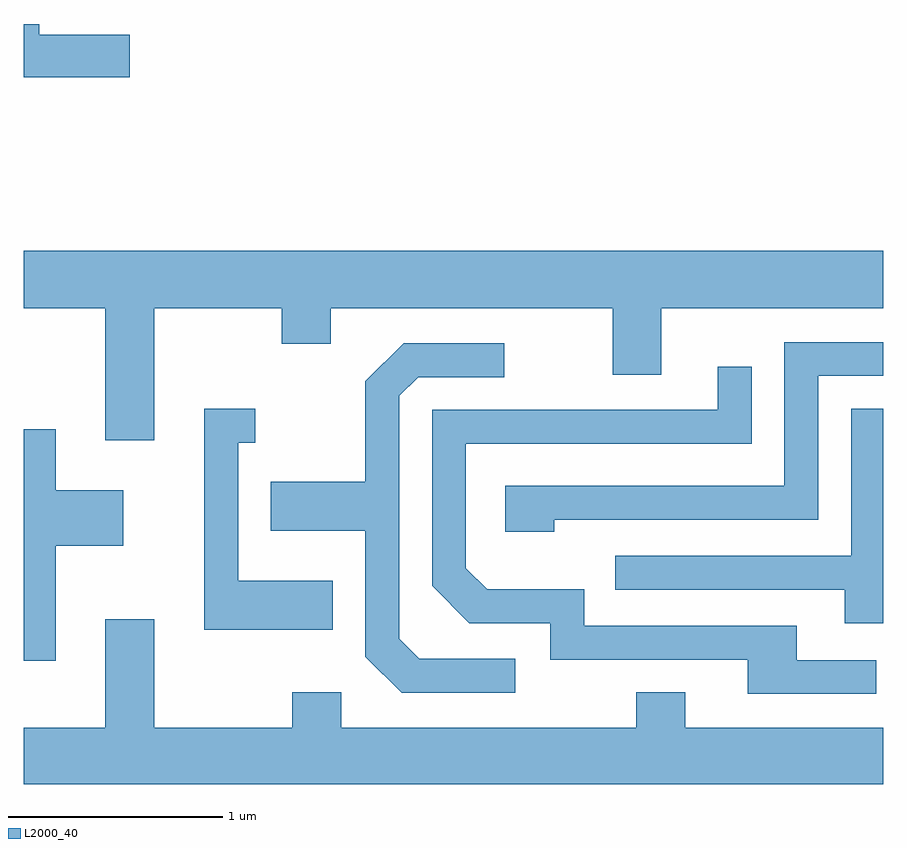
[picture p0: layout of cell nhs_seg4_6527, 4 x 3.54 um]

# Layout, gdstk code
import gdstk
lib = gdstk.Library(unit=1e-6, precision=1e-09)
def P(c, l, *ps):  # polygons
    for p in ps: c.add(gdstk.Polygon(p, *l))
L2000_40 = (2000, 40)

nhs_seg4_6527 = lib.new_cell('nhs_seg4_6527')
P(nhs_seg4_6527, L2000_40, [(376.104,1391.469),(375.684,1391.469),(375.684,1391.519),(375.611,1391.519),(375.611,1391.271),(376.104,1391.271)],
  [(376.219,1390.196),(376.811,1390.196),(376.811,1390.031),(377.039,1390.031),(377.039,1390.196),(378.351,1390.196),(378.351,1389.886),(378.579,1389.886),(378.579,1390.196),(379.611,1390.196),(379.611,1390.464),(375.611,1390.464),(375.611,1390.196),(375.991,1390.196),(375.991,1389.581),(376.219,1389.581)],
  [(378.079,1389.211),(379.309,1389.211),(379.309,1389.881),(379.611,1389.881),(379.611,1390.039),(379.151,1390.039),(379.151,1389.369),(377.851,1389.369),(377.851,1389.156),(378.079,1389.156)],
  [(377.898,1388.564),(377.452,1388.564),(377.359,1388.657),(377.359,1389.789),(377.447,1389.876),(377.848,1389.876),(377.848,1390.034),(377.379,1390.034),(377.201,1389.857),(377.201,1389.389),(376.761,1389.389),(376.761,1389.161),(377.201,1389.161),(377.201,1388.574),(377.369,1388.406),(377.898,1388.406)],
  [(379.578,1388.559),(379.209,1388.559),(379.209,1388.719),(378.219,1388.719),(378.219,1388.889),(377.767,1388.889),(377.669,1388.987),(377.669,1389.566),(378.999,1389.566),(378.999,1389.923),(378.841,1389.923),(378.841,1389.724),(377.511,1389.724),(377.511,1388.904),(377.684,1388.731),(378.061,1388.731),(378.061,1388.561),(378.981,1388.561),(378.981,1388.401),(379.578,1388.401)],
  [(379.611,1389.729),(379.461,1389.729),(379.461,1389.044),(378.363,1389.044),(378.363,1388.886),(379.431,1388.886),(379.431,1388.731),(379.611,1388.731)],
  [(377.049,1388.929),(376.609,1388.929),(376.609,1389.571),(376.688,1389.571),(376.688,1389.729),(376.451,1389.729),(376.451,1388.701),(377.049,1388.701)],
  [(375.759,1389.091),(376.074,1389.091),(376.074,1389.349),(375.759,1389.349),(375.759,1389.634),(375.611,1389.634),(375.611,1388.556),(375.759,1388.556)],
  [(379.611,1388.244),(378.689,1388.244),(378.689,1388.409),(378.461,1388.409),(378.461,1388.244),(377.089,1388.244),(377.089,1388.409),(376.861,1388.409),(376.861,1388.244),(376.219,1388.244),(376.219,1388.749),(375.991,1388.749),(375.991,1388.244),(375.611,1388.244),(375.611,1387.982),(379.611,1387.982)])

lib.write_gds('nhs_seg4_6527.gds')
